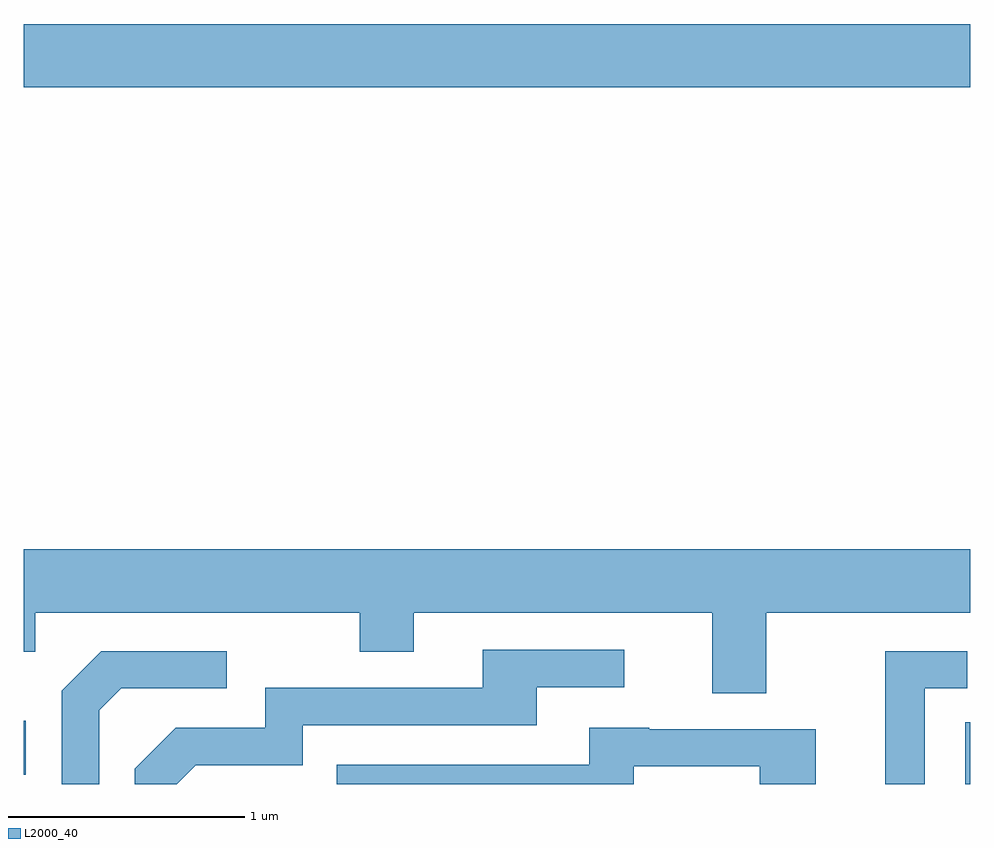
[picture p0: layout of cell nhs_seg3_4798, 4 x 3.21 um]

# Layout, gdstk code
import gdstk
lib = gdstk.Library(unit=1e-6, precision=1e-09)
def R(c, l, rs):  # rectangles x0, y0, x1, y1
    for r in rs: c.add(gdstk.rectangle(r[:2], r[2:], *l))
def P(c, l, *ps):  # polygons
    for p in ps: c.add(gdstk.Polygon(p, *l))
L2000_40 = (2000, 40)

nhs_seg3_4798 = lib.new_cell('nhs_seg3_4798')
R(nhs_seg3_4798, L2000_40, [(329.591,1191.892,329.611,1192.153), (325.611,1191.931,325.619,1192.159), (325.611,1194.836,329.611,1195.104)])
P(nhs_seg3_4798, L2000_40, [(328.749,1192.616),(329.611,1192.616),(329.611,1192.884),(325.611,1192.884),(325.611,1192.451),(325.659,1192.451),(325.659,1192.616),(327.031,1192.616),(327.031,1192.451),(327.259,1192.451),(327.259,1192.616),(328.521,1192.616),(328.521,1192.276),(328.749,1192.276)],
  [(326.337,1191.971),(326.789,1191.971),(326.789,1192.141),(327.779,1192.141),(327.779,1192.301),(328.148,1192.301),(328.148,1192.459),(327.551,1192.459),(327.551,1192.299),(326.631,1192.299),(326.631,1192.129),(326.254,1192.129),(326.081,1191.957),(326.081,1191.892),(326.257,1191.892)],
  [(329.419,1192.296),(329.598,1192.296),(329.598,1192.454),(329.251,1192.454),(329.251,1191.892),(329.419,1191.892)],
  [(325.929,1192.204),(326.022,1192.296),(326.468,1192.296),(326.468,1192.454),(325.939,1192.454),(325.771,1192.287),(325.771,1191.892),(325.929,1191.892)],
  [(328.189,1191.966),(328.721,1191.966),(328.721,1191.892),(328.959,1191.892),(328.959,1192.124),(328.255,1192.124),(328.255,1192.129),(328.001,1192.129),(328.001,1191.974),(326.933,1191.974),(326.933,1191.892),(328.189,1191.892)])

lib.write_gds('nhs_seg3_4798.gds')
